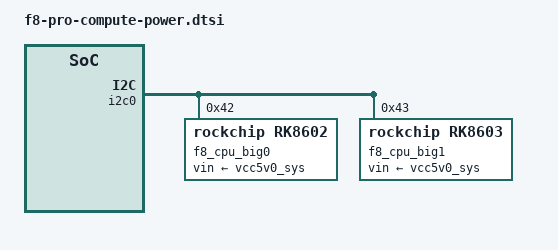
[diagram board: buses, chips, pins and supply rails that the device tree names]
// SPDX-License-Identifier: GPL-2.0-only
// Vendor CPU rails; not a validated DVFS/boot configuration.
&i2c0 {
	status = "okay";
	// Vendor uses GPIO0_D1/D2 (mux 2), not SoC-default B3/B4 shared with SPI2.
	pinctrl-names = "default";
	pinctrl-0 = <&i2c0m2_xfer>;
		f8_cpu_big0: rk8602@42 {
			compatible = "rockchip,rk8602";
			reg = <0x42>;
			vin-supply = <&vcc5v0_sys>;
			regulator-compatible = "rk860x-reg";
			regulator-name = "vdd_cpu_big0_s0";
			regulator-min-microvolt = <0x86470>;
			regulator-max-microvolt = <0x100590>;
			regulator-ramp-delay = <0x8fc>;
			rockchip,suspend-voltage-selector = <0x01>;
			regulator-boot-on;
			regulator-always-on;

			regulator-state-mem {
				regulator-off-in-suspend;
			};
		};
		f8_cpu_big1: rk8603@43 {
			compatible = "rockchip,rk8603";
			reg = <0x43>;
			vin-supply = <&vcc5v0_sys>;
			regulator-compatible = "rk860x-reg";
			regulator-name = "vdd_cpu_big1_s0";
			regulator-min-microvolt = <0x86470>;
			regulator-max-microvolt = <0x100590>;
			regulator-ramp-delay = <0x8fc>;
			rockchip,suspend-voltage-selector = <0x01>;
			regulator-boot-on;
			regulator-always-on;

			regulator-state-mem {
				regulator-off-in-suspend;
			};
		};
};
&cpu_l0 { cpu-supply = <&vdd_cpu_lit_s0>; mem-supply = <&vdd_cpu_lit_s0>; };
&cpu_b0 { cpu-supply = <&f8_cpu_big0>; mem-supply = <&f8_cpu_big0>; };
&cpu_b2 { cpu-supply = <&f8_cpu_big1>; mem-supply = <&f8_cpu_big1>; };
&gpu { status = "disabled"; };
&gpu_panthor { mali-supply = <&vdd_gpu_s0>; status = "disabled"; };
